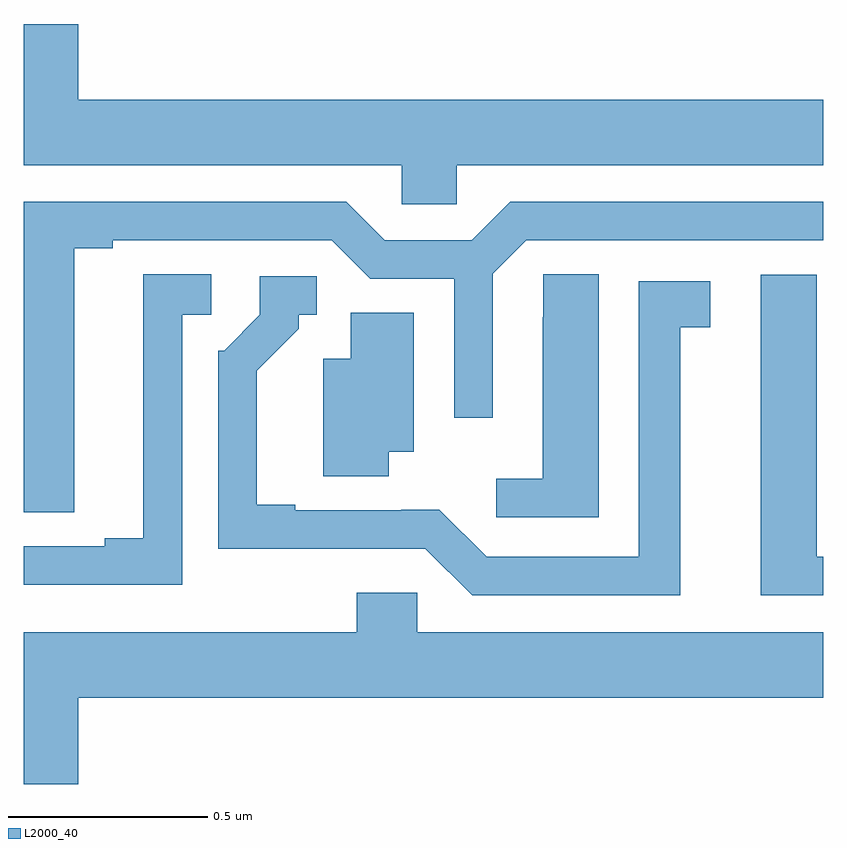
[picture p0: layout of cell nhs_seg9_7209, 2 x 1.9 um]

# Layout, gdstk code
import gdstk
lib = gdstk.Library(unit=1e-6, precision=1e-09)
def P(c, l, *ps):  # polygons
    for p in ps: c.add(gdstk.Polygon(p, *l))
L2000_40 = (2000, 40)

nhs_seg9_7209 = lib.new_cell('nhs_seg9_7209')
P(nhs_seg9_7209, L2000_40, [(202.083,1235.048),(203,1235.048),(203,1235.212),(201.136,1235.212),(201.136,1235.401),(201,1235.401),(201,1235.048),(201.945,1235.048),(201.945,1234.95),(202.083,1234.95)],
  [(201.127,1234.84),(201.223,1234.84),(201.223,1234.86),(201.771,1234.86),(201.867,1234.764),(202.077,1234.764),(202.077,1234.416),(202.173,1234.416),(202.173,1234.776),(202.257,1234.86),(203,1234.86),(203,1234.956),(202.217,1234.956),(202.121,1234.86),(201.903,1234.86),(201.807,1234.956),(201,1234.956),(201,1234.18),(201.127,1234.18)],
  [(201.396,1234.674),(201.469,1234.674),(201.469,1234.775),(201.299,1234.775),(201.299,1234.115),(201.203,1234.115),(201.203,1234.095),(201,1234.095),(201,1233.999),(201.396,1233.999)],
  [(202.438,1234.775),(202.299,1234.775),(202.299,1234.667),(202.298,1234.667),(202.298,1234.264),(202.182,1234.264),(202.182,1234.167),(202.438,1234.167)],
  [(203,1234.068),(202.984,1234.068),(202.984,1234.774),(202.844,1234.774),(202.844,1233.972),(203,1233.972)],
  [(202.642,1234.642),(202.717,1234.642),(202.717,1234.758),(202.538,1234.758),(202.538,1234.068),(202.158,1234.068),(202.04,1234.186),(201.944,1234.186),(201.944,1234.185),(201.679,1234.185),(201.679,1234.198),(201.583,1234.198),(201.583,1234.534),(201.688,1234.639),(201.688,1234.674),(201.733,1234.674),(201.733,1234.77),(201.591,1234.77),(201.591,1234.674),(201.501,1234.584),(201.486,1234.584),(201.486,1234.088),(201.749,1234.088),(201.749,1234.089),(202.005,1234.089),(202.122,1233.972),(202.642,1233.972)],
  [(201.913,1234.331),(201.976,1234.331),(201.976,1234.679),(201.818,1234.679),(201.818,1234.564),(201.749,1234.564),(201.749,1234.27),(201.913,1234.27)],
  [(201.833,1233.978),(201.833,1233.88),(201,1233.88),(201,1233.5),(201.136,1233.5),(201.136,1233.716),(203,1233.716),(203,1233.88),(201.984,1233.88),(201.984,1233.978)])

lib.write_gds('nhs_seg9_7209.gds')
